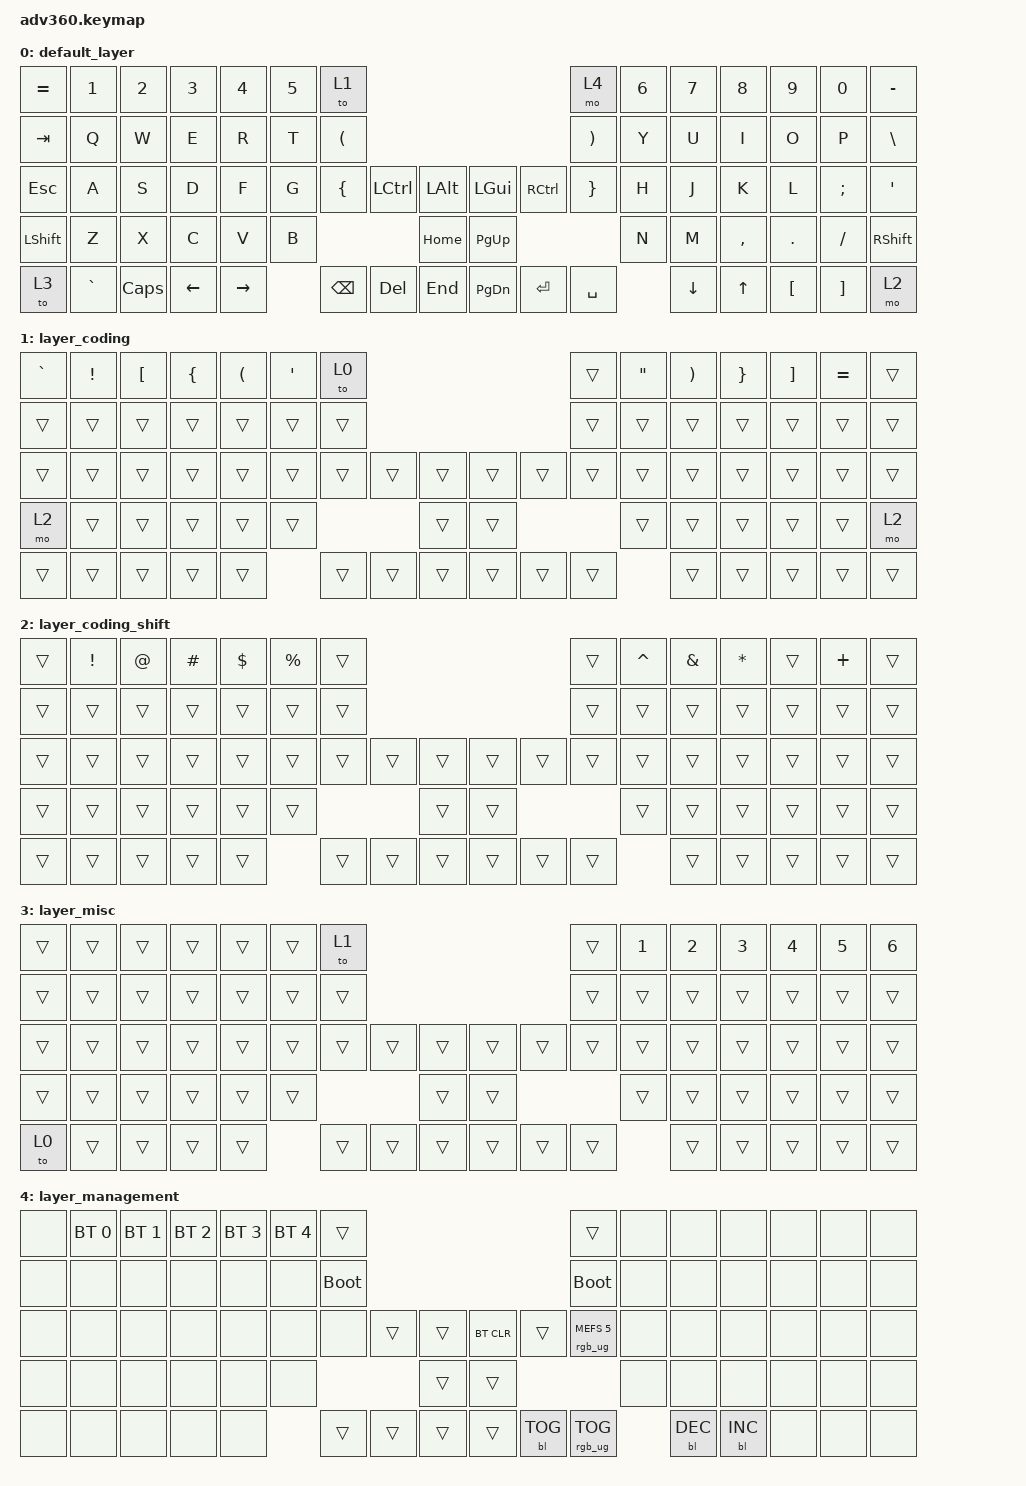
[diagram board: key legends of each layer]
/*
 * Copyright (c) 2020 The ZMK Contributors
 *
 * SPDX-License-Identifier: MIT
 */
/* THIS FILE WAS GENERATED!
 *
 * This file was generated automatically. You may or may not want to
 * edit it directly.
 */

#include <behaviors.dtsi>
#include <dt-bindings/zmk/backlight.h>
#include <dt-bindings/zmk/bt.h>
#include <dt-bindings/zmk/keys.h>
#include <dt-bindings/zmk/rgb.h>

/ {
    behaviors {
        #include "macros.dtsi"
    #include "version.dtsi"

        hm: homerow_mods {
            compatible = "zmk,behavior-hold-tap";
            label = "HOMEROW_MODS";
            #binding-cells = <2>;
            tapping-term-ms = <200>;
            quick_tap_ms = <175>;
            flavor = "tap-preferred";
            bindings = <&kp>, <&kp>;
        };
    };

    keymap {
        compatible = "zmk,keymap";

        default_layer {
            bindings = <
&kp EQUAL  &kp N1     &kp N2    &kp N3    &kp N4     &kp N5  &to 1                                                                &mo 4                  &kp N6  &kp N7    &kp N8     &kp N9    &kp N0    &kp MINUS
&kp TAB    &kp Q      &kp W     &kp E     &kp R      &kp T   &kp LEFT_PARENTHESIS                                                 &kp RIGHT_PARENTHESIS  &kp Y   &kp U     &kp I      &kp O     &kp P     &kp BSLH
&kp ESC    &kp A      &kp S     &kp D     &kp F      &kp G   &kp LEFT_BRACE        &kp LCTRL  &kp LALT      &kp LGUI   &kp RCTRL  &kp RIGHT_BRACE        &kp H   &kp J     &kp K      &kp L     &kp SEMI  &kp SQT
&kp LSHFT  &kp Z      &kp X     &kp C     &kp V      &kp B                                    &kp HOME      &kp PG_UP                                    &kp N   &kp M     &kp COMMA  &kp DOT   &kp FSLH  &kp RSHFT
&to 3      &kp GRAVE  &kp CAPS  &kp LEFT  &kp RIGHT          &kp BSPC              &kp DEL    &kp END       &kp PG_DN  &kp ENTER  &kp SPACE                      &kp DOWN  &kp UP     &kp LBKT  &kp RBKT  &mo 2
            >;
        };

        layer_coding {
            bindings = <
&kp GRAVE  &kp EXCLAMATION  &kp LEFT_BRACKET  &kp LEFT_BRACE  &kp LEFT_PARENTHESIS  &kp SINGLE_QUOTE  &to 0                                       &trans  &kp DOUBLE_QUOTES  &kp RIGHT_PARENTHESIS  &kp RIGHT_BRACE  &kp RIGHT_BRACKET  &kp EQUAL  &trans
&trans     &trans           &trans            &trans          &trans                &trans            &trans                                      &trans  &trans             &trans                 &trans           &trans             &trans     &trans
&trans     &trans           &trans            &trans          &trans                &trans            &trans  &trans  &trans      &trans  &trans  &trans  &trans             &trans                 &trans           &trans             &trans     &trans
&mo 2      &trans           &trans            &trans          &trans                &trans                            &trans      &trans                  &trans             &trans                 &trans           &trans             &trans     &mo 2
&trans     &trans           &trans            &trans          &trans                                  &trans  &trans  &trans      &trans  &trans  &trans                     &trans                 &trans           &trans             &trans     &trans
            >;
        };

        layer_coding_shift {
            bindings = <
&trans  &kp EXCLAMATION  &kp AT_SIGN  &kp HASH  &kp DOLLAR  &kp PERCENT  &trans                                      &trans  &kp CARET  &kp AMPERSAND  &kp ASTERISK  &trans  &kp PLUS  &trans
&trans  &trans           &trans       &trans    &trans      &trans       &trans                                      &trans  &trans     &trans         &trans        &trans  &trans    &trans
&trans  &trans           &trans       &trans    &trans      &trans       &trans  &trans  &trans      &trans  &trans  &trans  &trans     &trans         &trans        &trans  &trans    &trans
&trans  &trans           &trans       &trans    &trans      &trans                       &trans      &trans                  &trans     &trans         &trans        &trans  &trans    &trans
&trans  &trans           &trans       &trans    &trans                   &trans  &trans  &trans      &trans  &trans  &trans             &trans         &trans        &trans  &trans    &trans
            >;
        };

        layer_misc {
            bindings = <
&trans  &trans  &trans  &trans  &trans  &trans  &to 1                                       &trans  &kp N1  &kp NUMBER_2  &kp N3  &kp N4  &kp N5  &kp N6
&trans  &trans  &trans  &trans  &trans  &trans  &trans                                      &trans  &trans  &trans        &trans  &trans  &trans  &trans
&trans  &trans  &trans  &trans  &trans  &trans  &trans  &trans  &trans      &trans  &trans  &trans  &trans  &trans        &trans  &trans  &trans  &trans
&trans  &trans  &trans  &trans  &trans  &trans                  &trans      &trans                  &trans  &trans        &trans  &trans  &trans  &trans
&to 0   &trans  &trans  &trans  &trans          &trans  &trans  &trans      &trans  &trans  &trans          &trans        &trans  &trans  &trans  &trans
            >;
        };

        layer_management {
            bindings = <
&none  &bt BT_SEL 0  &bt BT_SEL 1  &bt BT_SEL 2  &bt BT_SEL 3  &bt BT_SEL 4  &trans                                                   &trans                  &none  &none       &none       &none  &none  &none
&none  &none         &none         &none         &none         &none         &bootloader                                              &bootloader             &none  &none       &none       &none  &none  &none
&none  &none         &none         &none         &none         &none         &none        &trans  &trans      &bt BT_CLR  &trans      &rgb_ug RGB_MEFS_CMD 5  &none  &none       &none       &none  &none  &none
&none  &none         &none         &none         &none         &none                              &trans      &trans                                          &none  &none       &none       &none  &none  &none
&none  &none         &none         &none         &none                       &trans       &trans  &trans      &trans      &bl BL_TOG  &rgb_ug RGB_TOG                &bl BL_DEC  &bl BL_INC  &none  &none  &none
            >;
        };
    };
};
